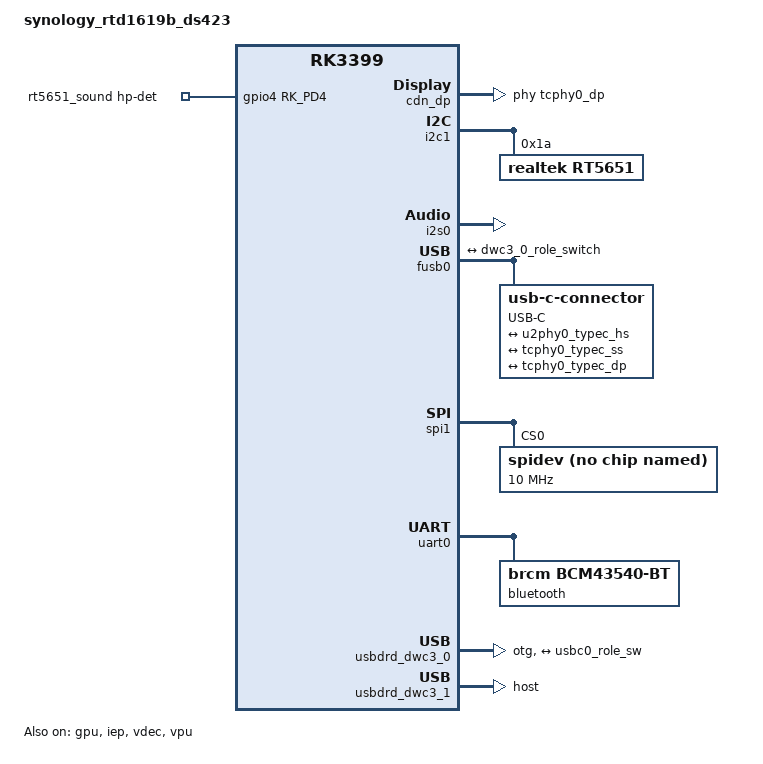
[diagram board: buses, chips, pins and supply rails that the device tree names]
// SPDX-License-Identifier: (GPL-2.0+ OR MIT)
/*
 * FriendlyElec NanoPC-T4 DSM loader device tree overlay target.
 *
 * Keep the real hardware compatible string so Rockchip platform drivers bind,
 * but expose the model DSM expects from the DS423 junior ramdisk.
 */

/dts-v1/;
#include <dt-bindings/usb/pd.h>
#include "rk3399-nanopc-t4.dts"

/ {
	model = "synology_rtd1619b_ds423";
	compatible = "friendlyelec,nanopc-t4", "friendlyarm,nanopc-t4", "rockchip,rk3399";

	ir-receiver {
		status = "okay";
	};

	gpio-keys {
		status = "disabled";
	};

	rt5651_sound: rt5651-sound {
		compatible = "rockchip,multicodecs-card";
		rockchip,card-name = "realtek,rt5651-codec";
		hp-det-gpio = <&gpio4 RK_PD4 GPIO_ACTIVE_HIGH>;
		pinctrl-names = "default";
		pinctrl-0 = <&hp_det_h>;
		rockchip,format = "i2s";
		rockchip,mclk-fs = <256>;
		rockchip,cpu = <&i2s0>;
		rockchip,codec = <&rt5651>;
		rockchip,audio-routing =
			"Headphone", "HPOL",
			"Headphone", "HPOR",
			"Speaker", "LOUTL",
			"Speaker", "LOUTR",
			"IN1P", "Main Mic",
			"IN2P", "Headset Mic",
			"IN2N", "Headset Mic",
			"Headset Mic", "micbias1";
		status = "okay";
	};

	reserved-memory {
		#address-cells = <2>;
		#size-cells = <2>;
		ranges;

		drm_logo: drm-logo@00000000 {
			compatible = "rockchip,drm-logo";
			reg = <0x0 0x0 0x0 0x0>;
		};
	};

	internal_slot@1 {
		protocol_type = "sata";

		ahci {
			pcie_root = "0000:00:00.0,00.0";
			ata_port = <0x00>;
		};
	};

	internal_slot@2 {
		protocol_type = "sata";

		ahci {
			pcie_root = "0000:00:00.0,00.0";
			ata_port = <0x01>;
		};
	};

	internal_slot@3 {
		protocol_type = "sata";

		ahci {
			pcie_root = "0000:00:00.0,00.0";
			ata_port = <0x02>;
		};
	};

	internal_slot@4 {
		protocol_type = "sata";

		ahci {
			pcie_root = "0000:00:00.0,00.0";
			ata_port = <0x03>;
		};
	};

	internal_slot@5 {
		protocol_type = "sata";

		ahci {
			pcie_root = "0000:00:00.0,00.0";
			ata_port = <0x04>;
		};
	};

	internal_slot@6 {
		protocol_type = "sata";

		ahci {
			pcie_root = "0000:00:00.0,00.0";
			ata_port = <0x05>;
		};
	};
};

&display_subsystem {
	ports = <&vopb_out>;
	logo-memory-region = <&drm_logo>;

	route {
		route_hdmi: route-hdmi {
			status = "okay";
			logo,uboot = "logo.bmp";
			logo,kernel = "logo.bmp";
			logo,mode = "center";
			charge_logo,mode = "center";
			connect = <&vopb_out_hdmi>;
		};
	};
};

&cdn_dp {
	phys = <&tcphy0_dp>;
	status = "okay";
};

&gpu {
	compatible = "arm,mali-t860", "arm,mali-midgard";
	operating-points-v2 = <&gpu_opp_table>;
	status = "okay";
};

&iep {
	status = "okay";
};

&iep_mmu {
	status = "okay";
};

&ir_rx {
	rockchip,pins = <0 RK_PA6 RK_FUNC_GPIO &pcfg_pull_up>;
};

&i2c1 {
	rt5651: rt5651@1a {
		compatible = "realtek,rt5651";
		reg = <0x1a>;
		clocks = <&cru SCLK_I2S_8CH_OUT>;
		clock-names = "mclk";
		pinctrl-names = "default";
		pinctrl-0 = <&i2s_8ch_mclk>;
		#sound-dai-cells = <0>;
	};
};

&i2s0 {
	rockchip,playback-channels = <8>;
	rockchip,capture-channels = <8>;
	#sound-dai-cells = <0>;
	status = "okay";
};

&fusb0 {
	ports {
		#address-cells = <1>;
		#size-cells = <0>;

		port@0 {
			reg = <0>;
			#address-cells = <1>;
			#size-cells = <0>;

			usbc0_role_sw: endpoint@0 {
				reg = <0>;
				remote-endpoint = <&dwc3_0_role_switch>;
			};
		};
	};

	connector {
		compatible = "usb-c-connector";
		label = "USB-C";
		data-role = "dual";
		power-role = "dual";
		try-power-role = "source";
		source-pdos = <PDO_FIXED(5000, 1400, PDO_FIXED_USB_COMM)>;
		sink-pdos = <PDO_FIXED(5000, 1000, PDO_FIXED_USB_COMM)>;
		op-sink-microwatt = <1000000>;

		ports {
			#address-cells = <1>;
			#size-cells = <0>;

			port@0 {
				reg = <0>;

				usbc0_hs: endpoint {
					remote-endpoint = <&u2phy0_typec_hs>;
				};
			};

			port@1 {
				reg = <1>;

				usbc0_ss: endpoint {
					remote-endpoint = <&tcphy0_typec_ss>;
				};
			};

			port@2 {
				reg = <2>;

				usbc0_dp: endpoint {
					remote-endpoint = <&tcphy0_typec_dp>;
				};
			};
		};
	};
};

&pinctrl {
	headphone {
		hp_det_h: hp-det-h {
			rockchip,pins = <4 RK_PD4 RK_FUNC_GPIO &pcfg_pull_none>;
		};
	};
};

&rkvdec {
	status = "disabled";
};

&vdec {
	status = "okay";
};

&vdec_mmu {
	status = "okay";
};

&spi1 {
	status = "okay";

	spidev@0 {
		compatible = "rohm,dh2228fv";
		reg = <0>;
		spi-max-frequency = <10000000>;
	};
};

&uart0 {
	/*
	 * GPIO2_D2 is shared by BT_WAKE and PCIe CLKREQ# on NanoPC-T4.
	 * Keep UART flow control for Broadcom Bluetooth, but leave GPIO2_D2
	 * to PCIe so the SATA controller can enumerate at boot.
	 */
	pinctrl-0 = <&uart0_xfer &uart0_rts &uart0_cts>;

	bluetooth {
		compatible = "brcm,bcm43540-bt";
		/delete-property/ device-wakeup-gpios;
		pinctrl-0 = <&bt_reg_on_h &bt_host_wake_l>;
		max-speed = <3000000>;
	};
};

&usbdrd_dwc3_0 {
	dr_mode = "otg";
	usb-role-switch;
	status = "okay";

	port {
		#address-cells = <1>;
		#size-cells = <0>;

		dwc3_0_role_switch: endpoint@0 {
			reg = <0>;
			remote-endpoint = <&usbc0_role_sw>;
		};
	};
};

&usbdrd_dwc3_1 {
	dr_mode = "host";
	status = "okay";
};

&vbus_typec {
	regulator-always-on;
	regulator-boot-on;
};

&u2phy0_otg {
	phy-supply = <&vbus_typec>;

	port {
		u2phy0_typec_hs: endpoint {
			remote-endpoint = <&usbc0_hs>;
		};
	};
};

&u2phy1_otg {
	phy-supply = <&vcc5v0_host0>;
};

&tcphy0 {
	orientation-switch;
	svid = /bits/ 16 <0xff01>;
};

&tcphy0_dp {
	port {
		tcphy0_typec_dp: endpoint {
			remote-endpoint = <&usbc0_dp>;
		};
	};
};

&tcphy0_usb3 {
	port {
		tcphy0_typec_ss: endpoint {
			remote-endpoint = <&usbc0_ss>;
		};
	};
};

&vopb {
	rockchip,grf = <&grf>;
};

&vopl {
	status = "disabled";
};

&vopl_mmu {
	status = "disabled";
};

&vpu {
	status = "okay";
};

&vpu_mmu {
	status = "okay";
};

&sdhci {
	disable-cqe;
};

